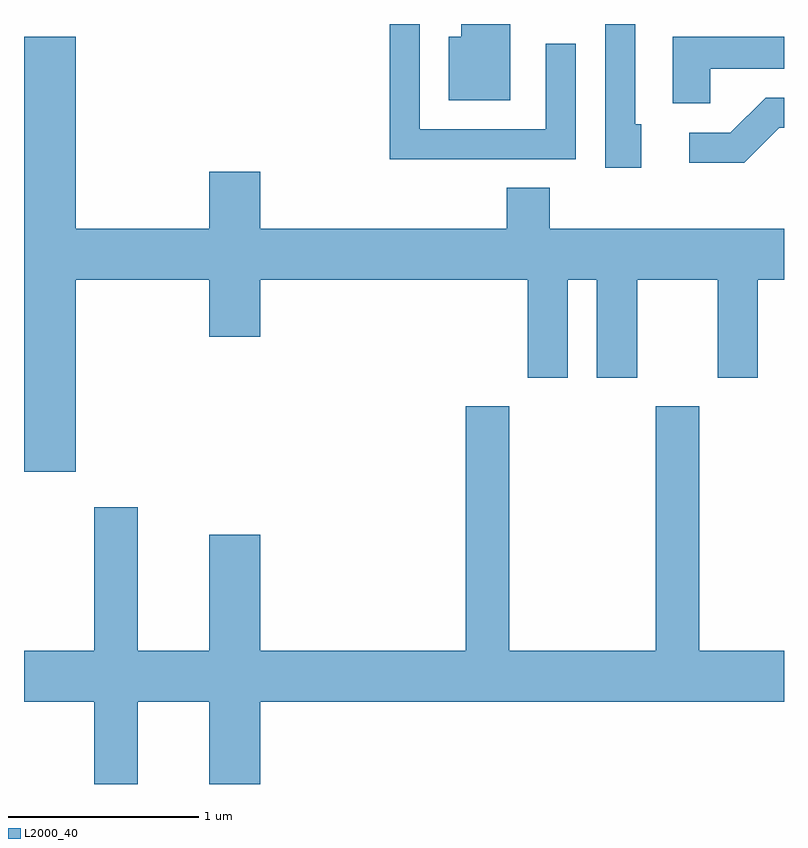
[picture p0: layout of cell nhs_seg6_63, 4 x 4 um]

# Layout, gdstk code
import gdstk
lib = gdstk.Library(unit=1e-6, precision=1e-09)
def P(c, l, *ps):  # polygons
    for p in ps: c.add(gdstk.Polygon(p, *l))
L2000_40 = (2000, 40)

nhs_seg6_63 = lib.new_cell('nhs_seg6_63')
P(nhs_seg6_63, L2000_40, [(188.514,1660.058),(188.356,1660.058),(188.356,1659.609),(187.694,1659.609),(187.694,1660.162),(187.536,1660.162),(187.536,1659.451),(188.514,1659.451)],
  [(188.169,1660.162),(187.911,1660.162),(187.911,1660.094),(187.846,1660.094),(187.846,1659.761),(188.169,1659.761)],
  [(188.859,1659.634),(188.829,1659.634),(188.829,1660.162),(188.671,1660.162),(188.671,1659.406),(188.859,1659.406)],
  [(189.224,1659.926),(189.611,1659.926),(189.611,1660.094),(189.026,1660.094),(189.026,1659.746),(189.224,1659.746)],
  [(185.884,1658.816),(186.586,1658.816),(186.586,1658.516),(186.854,1658.516),(186.854,1658.816),(188.261,1658.816),(188.261,1658.301),(188.474,1658.301),(188.474,1658.816),(188.626,1658.816),(188.626,1658.301),(188.839,1658.301),(188.839,1658.816),(189.261,1658.816),(189.261,1658.301),(189.474,1658.301),(189.474,1658.816),(189.611,1658.816),(189.611,1659.084),(188.379,1659.084),(188.379,1659.299),(188.151,1659.299),(188.151,1659.084),(186.854,1659.084),(186.854,1659.384),(186.586,1659.384),(186.586,1659.084),(185.884,1659.084),(185.884,1660.094),(185.611,1660.094),(185.611,1657.806),(185.884,1657.806)],
  [(189.587,1659.616),(189.611,1659.616),(189.611,1659.774),(189.514,1659.774),(189.329,1659.589),(189.113,1659.589),(189.113,1659.431),(189.402,1659.431)],
  [(186.209,1656.596),(186.586,1656.596),(186.586,1656.162),(186.854,1656.162),(186.854,1656.596),(189.611,1656.596),(189.611,1656.864),(189.164,1656.864),(189.164,1658.149),(188.936,1658.149),(188.936,1656.864),(188.164,1656.864),(188.164,1658.149),(187.936,1658.149),(187.936,1656.864),(186.854,1656.864),(186.854,1657.474),(186.586,1657.474),(186.586,1656.864),(186.209,1656.864),(186.209,1657.619),(185.981,1657.619),(185.981,1656.864),(185.611,1656.864),(185.611,1656.596),(185.981,1656.596),(185.981,1656.162),(186.209,1656.162)])

lib.write_gds('nhs_seg6_63.gds')
